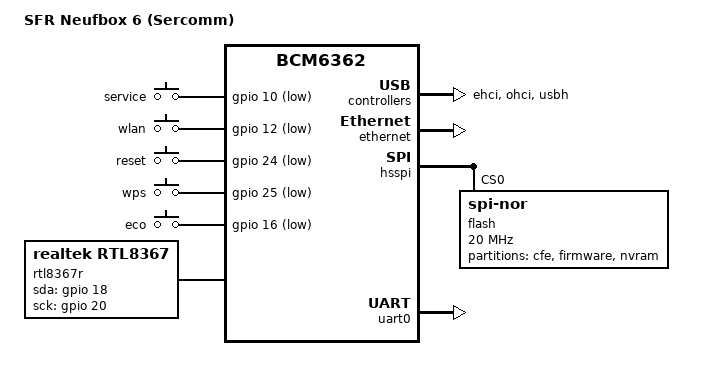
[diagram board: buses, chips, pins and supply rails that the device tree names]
// SPDX-License-Identifier: GPL-2.0-or-later
/*
 * SFR Neufbox 6 (Sercomm, board id NB6-SER-r0) - BCM6361/BCM6362, 64 MiB RAM,
 * 16 MiB SPI NOR (MX25L12845E), Realtek RTL8367R gigabit switch on GPIO SMI,
 * connected to internal switch port 4 over RGMII.
 * Ported from OpenWrt 23.05 target/linux/bcm63xx (bcm6361-sfr-neufbox-6-sercomm-r0.dts
 * + board_nb6 in 517-board_bcm6362.patch).
 */

#include "bcm6362.dtsi"

/ {
	model = "SFR Neufbox 6 (Sercomm)";
	compatible = "sfr,neufbox-6-sercomm-r0", "brcm,bcm6362";

	keys {
		compatible = "gpio-keys-polled";
		poll-interval = <20>;

		service {
			label = "service";
			gpios = <&gpio 10 GPIO_ACTIVE_LOW>;
			linux,code = <BTN_0>;
			debounce-interval = <60>;
		};

		wlan {
			label = "wlan";
			gpios = <&gpio 12 GPIO_ACTIVE_LOW>;
			linux,code = <KEY_WLAN>;
			debounce-interval = <60>;
		};

		reset {
			label = "reset";
			gpios = <&gpio 24 GPIO_ACTIVE_LOW>;
			linux,code = <KEY_RESTART>;
			debounce-interval = <60>;
		};

		wps {
			label = "wps";
			gpios = <&gpio 25 GPIO_ACTIVE_LOW>;
			linux,code = <KEY_WPS_BUTTON>;
			debounce-interval = <60>;
		};

		/* "ECO" button on top of the box (found by probing: GPIO 16, low when pressed) */
		eco {
			label = "eco";
			gpios = <&gpio 16 GPIO_ACTIVE_LOW>;
			linux,code = <BTN_1>;
			debounce-interval = <60>;
		};
	};

	/* Realtek RTL8367R, swconfig driver (kmod-switch-rtl8367).
	 * extif: <cpu_port txdelay rxdelay mode(1=RGMII) force txpause rxpause link duplex speed(2=1000)>
	 * Same values as 23.05 ("realtek,extif0 = <1 5 1 1 1 1 1 1 2>") with cpu port 9 prepended. */
	rtl8367r {
		compatible = "realtek,rtl8367";
		gpio-sda = <&gpio 18 GPIO_ACTIVE_HIGH>;
		gpio-sck = <&gpio 20 GPIO_ACTIVE_HIGH>;

		realtek,extif = <9 1 5 1 1 1 1 1 1 2>;
	};
};

&ehci {
	status = "okay";
};

&ethernet {
	status = "okay";

	nvmem-cells = <&macaddr_cfe_6a0 0>;
	nvmem-cell-names = "mac-address";
};

&hsspi {
	status = "okay";

	flash@0 {
		compatible = "jedec,spi-nor";
		spi-max-frequency = <20000000>;
		spi-tx-bus-width = <2>;
		spi-rx-bus-width = <2>;
		reg = <0>;

		partitions {
			compatible = "fixed-partitions";
			#address-cells = <1>;
			#size-cells = <1>;

			partition@0 {
				label = "cfe";
				reg = <0x000000 0x010000>;
				read-only;

				nvmem-layout {
					compatible = "fixed-layout";
					#address-cells = <1>;
					#size-cells = <1>;

					macaddr_cfe_6a0: macaddr@6a0 {
						compatible = "mac-base";
						reg = <0x6a0 0x6>;
						#nvmem-cell-cells = <1>;
					};
				};
			};

			partition@10000 {
				compatible = "brcm,bcm963xx-imagetag";
				label = "firmware";
				reg = <0x010000 0xfe0000>;
			};

			partition@ff0000 {
				label = "nvram";
				reg = <0xff0000 0x010000>;
				read-only;
			};
		};
	};
};

&ohci {
	status = "okay";
};

&switch0 {
	ports {
		/* internal switch port 4 -> RTL8367R extif0 (RGMII, 1000 full, delays set on the Realtek side) */
		port@4 {
			reg = <4>;
			label = "extsw";

			phy-mode = "rgmii";

			fixed-link {
				speed = <1000>;
				full-duplex;
			};
		};
	};
};

&uart0 {
	status = "okay";
};

&usbh {
	status = "okay";
};
